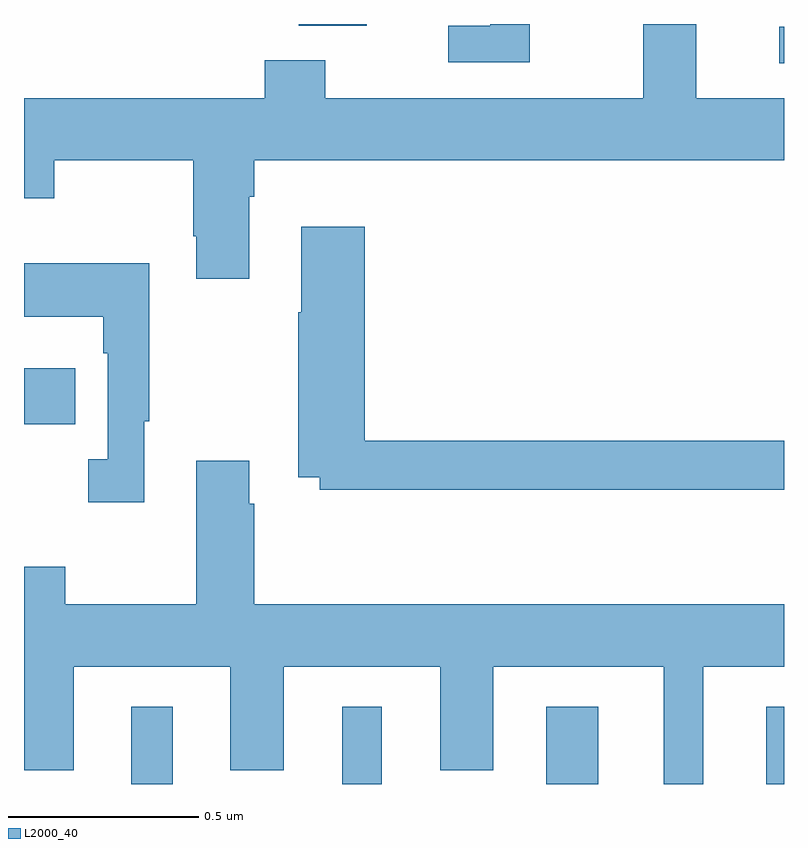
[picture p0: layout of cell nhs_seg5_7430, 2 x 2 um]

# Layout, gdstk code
import gdstk
lib = gdstk.Library(unit=1e-6, precision=1e-09)
def R(c, l, rs):  # rectangles x0, y0, x1, y1
    for r in rs: c.add(gdstk.rectangle(r[:2], r[2:], *l))
def P(c, l, *ps):  # polygons
    for p in ps: c.add(gdstk.Polygon(p, *l))
L2000_40 = (2000, 40)

nhs_seg5_7430 = lib.new_cell('nhs_seg5_7430')
R(nhs_seg5_7430, L2000_40, [(209.282,841.799,209.392,842.002), (209.837,841.799,209.941,842.002), (210.374,841.799,210.511,842.002), (210.953,841.799,211,842.002), (209,842.746,209.135,842.893), (210.987,843.696,211,843.792), (209.723,843.794,209.902,843.799)])
P(nhs_seg5_7430, L2000_40, [(210.331,843.799),(210.227,843.799),(210.227,843.795),(210.117,843.795),(210.117,843.699),(210.331,843.699)],
  [(209.593,843.344),(209.606,843.344),(209.606,843.44),(211,843.44),(211,843.604),(210.769,843.604),(210.769,843.799),(210.629,843.799),(210.629,843.604),(209.793,843.604),(209.793,843.703),(209.633,843.703),(209.633,843.604),(209,843.604),(209,843.341),(209.079,843.341),(209.079,843.44),(209.446,843.44),(209.446,843.241),(209.453,843.241),(209.453,843.129),(209.593,843.129)],
  [(211,842.702),(209.897,842.702),(209.897,843.265),(209.729,843.265),(209.729,843.041),(209.722,843.041),(209.722,842.606),(209.778,842.606),(209.778,842.574),(211,842.574)],
  [(209.317,842.753),(209.329,842.753),(209.329,843.169),(209,843.169),(209,843.029),(209.208,843.029),(209.208,842.933),(209.22,842.933),(209.22,842.654),(209.169,842.654),(209.169,842.541),(209.317,842.541)],
  [(210.787,842.108),(211,842.108),(211,842.272),(209.606,842.272),(209.606,842.537),(209.593,842.537),(209.593,842.65),(209.453,842.65),(209.453,842.272),(209.109,842.272),(209.109,842.371),(209,842.371),(209,841.835),(209.131,841.835),(209.131,842.108),(209.543,842.108),(209.543,841.835),(209.683,841.835),(209.683,842.108),(210.095,842.108),(210.095,841.835),(210.235,841.835),(210.235,842.108),(210.683,842.108),(210.683,841.799),(210.787,841.799)])

lib.write_gds('nhs_seg5_7430.gds')
